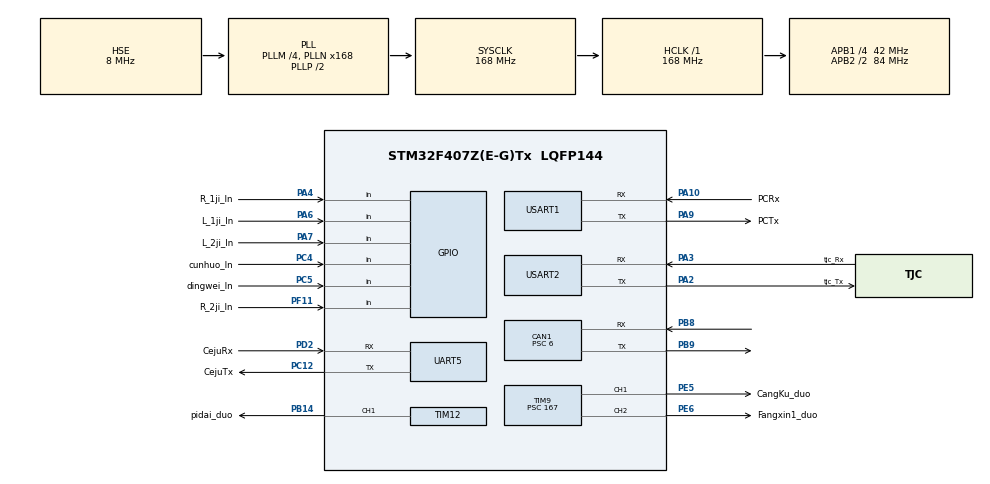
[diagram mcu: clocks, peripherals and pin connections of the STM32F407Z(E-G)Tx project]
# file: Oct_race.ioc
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CAN1.BS1=CAN_BS1_5TQ
CAN1.CalculateBaudRate=1000000
CAN1.CalculateTimeBit=1000
CAN1.CalculateTimeQuantum=142.85714285714286
CAN1.Prescaler=6
Mcu.Family=STM32F4
Mcu.Name=STM32F407Z(E-G)Tx
Mcu.Package=LQFP144
NVIC.CAN1_RX0_IRQn=true\:0\:0\:false\:false\:true\:true\:true\:true
NVIC.CAN1_RX1_IRQn=true\:0\:0\:false\:false\:true\:true\:true\:true
NVIC.CAN1_SCE_IRQn=true\:0\:0\:false\:false\:true\:true\:true\:true
NVIC.CAN1_TX_IRQn=true\:0\:0\:false\:false\:true\:true\:true\:true
NVIC.PriorityGroup=NVIC_PRIORITYGROUP_4
NVIC.TIM5_IRQn=true\:0\:0\:false\:false\:true\:true\:true\:true
NVIC.UART5_IRQn=true\:0\:0\:false\:false\:true\:true\:true\:true
NVIC.USART1_IRQn=true\:0\:0\:false\:false\:true\:true\:true\:true
NVIC.USART2_IRQn=true\:0\:0\:false\:false\:true\:true\:true\:true
PA10.GPIO_Label=PCRx
PA10.Mode=Asynchronous
PA10.Signal=USART1_RX
PA13.Mode=Serial_Wire
PA13.Signal=SYS_JTMS-SWDIO
PA14.Mode=Serial_Wire
PA14.Signal=SYS_JTCK-SWCLK
PA2.GPIO_Label=tjc_Tx
PA2.Mode=Asynchronous
PA2.Signal=USART2_TX
PA3.GPIO_Label=tjc_Rx
PA3.Mode=Asynchronous
PA3.Signal=USART2_RX
PA4.GPIO_Label=R_1ji_In
PA4.GPIO_PuPd=GPIO_PULLUP
PA4.Signal=GPIO_Input
PA6.GPIO_Label=L_1ji_In
PA6.GPIO_PuPd=GPIO_PULLUP
PA6.Signal=GPIO_Input
PA7.GPIO_Label=L_2ji_In
PA7.GPIO_PuPd=GPIO_PULLUP
PA7.Signal=GPIO_Input
PA9.GPIO_Label=PCTx
PA9.Mode=Asynchronous
PA9.Signal=USART1_TX
PB14.GPIO_Label=pidai_duo
PB14.Signal=S_TIM12_CH1
PB8.Mode=CAN_Activate
PB8.Signal=CAN1_RX
PB9.Mode=CAN_Activate
PB9.Signal=CAN1_TX
PC12.GPIO_Label=CejuTx
PC12.Mode=Asynchronous
PC12.Signal=UART5_TX
PC4.GPIO_Label=cunhuo_In
PC4.GPIO_PuPd=GPIO_PULLUP
PC4.Signal=GPIO_Input
PC5.GPIO_Label=dingwei_In
PC5.GPIO_PuPd=GPIO_PULLUP
PC5.Signal=GPIO_Input
PD2.GPIO_Label=CejuRx
PD2.Mode=Asynchronous
PD2.Signal=UART5_RX
PE5.GPIO_Label=CangKu_duo
PE5.Signal=S_TIM9_CH1
PE6.GPIO_Label=Fangxin1_duo
PE6.Signal=S_TIM9_CH2
PF11.GPIO_Label=R_2ji_In
PF11.GPIO_PuPd=GPIO_PULLUP
PF11.Signal=GPIO_Input
PH0-OSC_IN.Mode=HSE-External-Oscillator
PH0-OSC_IN.Signal=RCC_OSC_IN
PH1-OSC_OUT.Mode=HSE-External-Oscillator
PH1-OSC_OUT.Signal=RCC_OSC_OUT
ProjectManager.HeapSize=0x200
ProjectManager.StackSize=0x400
ProjectManager.TargetToolchain=MDK-ARM V5.32
RCC.48MHZClocksFreq_Value=84000000
RCC.AHBFreq_Value=168000000
RCC.APB1CLKDivider=RCC_HCLK_DIV4
RCC.APB1Freq_Value=42000000
RCC.APB1TimFreq_Value=84000000
RCC.APB2CLKDivider=RCC_HCLK_DIV2
RCC.APB2Freq_Value=84000000
RCC.APB2TimFreq_Value=168000000
RCC.CortexFreq_Value=168000000
RCC.HCLKFreq_Value=168000000
RCC.HSE_VALUE=8000000
RCC.HSI_VALUE=16000000
RCC.LSE_VALUE=32768
RCC.PLLM=4
RCC.PLLN=168
RCC.PLLSourceVirtual=RCC_PLLSOURCE_HSE
RCC.SYSCLKFreq_VALUE=168000000
RCC.SYSCLKSource=RCC_SYSCLKSOURCE_PLLCLK
RCC.VCOOutputFreq_Value=336000000
SH.S_TIM12_CH1.0=TIM12_CH1,PWM Generation1 CH1
SH.S_TIM9_CH1.0=TIM9_CH1,PWM Generation1 CH1
SH.S_TIM9_CH2.0=TIM9_CH2,PWM Generation2 CH2
TIM12.Channel-PWM\ Generation1\ CH1=TIM_CHANNEL_1
TIM12.Period=19999
TIM12.Prescaler=83
TIM5.Period=999
TIM5.Prescaler=167
TIM9.Channel-PWM\ Generation1\ CH1=TIM_CHANNEL_1
TIM9.Channel-PWM\ Generation2\ CH2=TIM_CHANNEL_2
TIM9.Period=19999
TIM9.Prescaler=167
UART5.VirtualMode=Asynchronous
USART1.VirtualMode=VM_ASYNC
USART2.VirtualMode=VM_ASYNC
VP_TIM12_VS_ClockSourceINT.Mode=Internal
VP_TIM5_VS_ClockSourceINT.Mode=Internal
VP_TIM9_VS_ClockSourceINT.Mode=Internal
board=custom

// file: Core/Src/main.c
/* USER CODE BEGIN Header */
/**
  ******************************************************************************
  * @file           : main.c
  * @brief          : Main program body
  ******************************************************************************
  * @attention
  *
  * Copyright (c) 2026 STMicroelectronics.
  * All rights reserved.
  *
  * This software is licensed under terms that can be found in the LICENSE file
  * in the root directory of this software component.
  * If no LICENSE file comes with this software, it is provided AS-IS.
  *
  ******************************************************************************
  */
/* USER CODE END Header */
#include "main.h"
#include "can.h"
#include "tim.h"
#include "usart.h"
#include "gpio.h"

/* USER CODE BEGIN Includes */
#include "laser.h"
#include "Motor.h"
#include "stdio.h"
#include "string.h"
#include "Servo.h"
#include "tjc_usart_hmi.h"
#include "In.h"
#include "command.h"
#include "Control.h"
/* USER CODE END Includes */

/* USER CODE BEGIN PV */

int test=0;//测试专用变量
int flag = 0; //标志位

//测距变量
volatile uint8_t rxReady = 0; //测距接收完成标志
uint8_t rxBuffer[8];          //测距接收缓冲区
uint8_t LaserRx[8];           // 测距处理缓冲区
extern Laser_Data_t Laser; //测距结构体

//马达变量
extern Motor_Feedback_t Motor1_Feedback; // 马达反馈
uint8_t TxData[8] = {0};                 // can发送缓冲区
int16_t torque1 = 0;                     // 马达1扭矩值
double Angle = 0;                     // 马达角度值

//串口屏变量
extern RingBuffer_t ringBuffer;	//创建一个ringBuffer的屏幕串口缓冲区
extern uint8_t tjc_RxBuffer[1];//屏幕串口接收命令位

//状态机变量
//extern int tik;//状态机计时
//extern SystemState_t SystemState;

//上位机接收变量
uint8_t readBuffer[10];//上位机接收缓存

extern GoodsSlot GoodsTable[MAX_GOODS_TYPE];

/* USER CODE END PV */

void SystemClock_Config(void);
/* USER CODE BEGIN PFP */

//extern void Laser_Parse(uint8_t *buf);
/* USER CODE END PFP */

/* USER CODE BEGIN 0 */

//串口重定向（别的地方般的，非常之好用）
#ifdef __cplusplus
extern "C" {
#endif
int fputc(int ch, FILE *f)
{
  HAL_UART_Transmit(&huart1, (uint8_t *)&ch, 1, 0xFFFF);
  return (ch);
}
#ifdef __cplusplus
}
#endif

/**
*@brief 16进制打印，用于串口监控内存
*/
 void ShowHex(uint8_t *buf,uint8_t len)
{
    uint8_t i;
    printf("hex = ");
    for( i = 0; i < len; i++){
      printf(" %02X", buf[i]);
    }
    printf( "\r\n");
}

/**
 * @brief  串口接收空闲回调函数
 *
 * @param huart
 * @param Size
 */
void HAL_UARTEx_RxEventCallback(UART_HandleTypeDef *huart, uint16_t Size)
{
	if (huart == &huart1)
  {
    //调试用
    //printf("RX Size:%d\r\n",Size);
    //ShowHex(readBuffer,Size);
		Command_Write(readBuffer, Size);
		HAL_UARTEx_ReceiveToIdle_IT(&huart1, readBuffer, sizeof(readBuffer));
	}
}

/* USER CODE END 0 */

int main(void)
{

  /* MCU Configuration--------------------------------------------------------*/

  /* Reset of all peripherals, Initializes the Flash interface and the Systick. */
  HAL_Init();

  /* Configure the system clock */
  SystemClock_Config();

  /* Initialize all configured peripherals */
  MX_GPIO_Init();
  MX_CAN1_Init();
  MX_USART1_UART_Init();
  MX_UART5_Init();
  MX_TIM9_Init();
  MX_TIM5_Init();
  MX_USART2_UART_Init();
  MX_TIM12_Init();
  /* USER CODE BEGIN 2 */
  HAL_TIM_Base_Start_IT(&htim5);
  fangxin_duo_init();
  dipan_duo_init();
  Motor_Init();
  //printf("Motor Init\r\n");
  HAL_Delay(1000);
  Laser_UART_Start();
  HAL_Delay(20);
  Motor_PID_Init();
  pidai_duo_init();
  Laser_StartContinuous();
  Motor_SetTargetAngle(5000);
  if (HAL_UART_Receive_IT(&huart5, LaserRx, 8) != HAL_OK)
  {
    //good! 表扬你！
  }
  else
  {
    HAL_UART_Receive_IT(&huart5, LaserRx, 8);
  }
  Laser.Distance_cm = 100;
  HAL_UARTEx_ReceiveToIdle_IT(&huart1, readBuffer, sizeof(readBuffer));
  //Set_dipan_duo(270);

  /* USER CODE END 2 */

  /* Infinite loop */
  /* USER CODE BEGIN WHILE */
    while (1)
    {
      System_StateMachine();

      //PB14舵机测试
      // Set_pidai_zhuan(0);
      // HAL_Delay(3999);
      // Set_pidai_zhuan(33);
      // HAL_Delay(2999);
      // Set_pidai_zhuan(50);
      // HAL_Delay(999);
      // Set_pidai_zhuan(66);
      // HAL_Delay(1999);
      //Set_pidai_zhuan(100);
      //HAL_Delay(3999);
      // Set_pidai_zhuan(50);
      // HAL_Delay(999);
      // Set_pidai_zhuan(200);
      // HAL_Delay(1999);
      // Set_pidai_zhuan(100);
      // HAL_Delay(999);

      // 调试的时候用串口监控的数据
      // printf("%.2f\r\n",  Motor1_Feedback.total_angle);//马达角度
      // printf("%.2f\r\n", Laser.Distance_cm);

    /* USER CODE END WHILE */

    }
}

void SystemClock_Config(void)
{
  RCC_OscInitTypeDef RCC_OscInitStruct = {0};
  RCC_ClkInitTypeDef RCC_ClkInitStruct = {0};

  /** Configure the main internal regulator output voltage
  */
  __HAL_RCC_PWR_CLK_ENABLE();
  __HAL_PWR_VOLTAGESCALING_CONFIG(PWR_REGULATOR_VOLTAGE_SCALE1);

  /** Initializes the RCC Oscillators according to the specified parameters
  * in the RCC_OscInitTypeDef structure.
  */
  RCC_OscInitStruct.OscillatorType = RCC_OSCILLATORTYPE_HSE;
  RCC_OscInitStruct.HSEState = RCC_HSE_ON;
  RCC_OscInitStruct.PLL.PLLState = RCC_PLL_ON;
  RCC_OscInitStruct.PLL.PLLSource = RCC_PLLSOURCE_HSE;
  RCC_OscInitStruct.PLL.PLLM = 4;
  RCC_OscInitStruct.PLL.PLLN = 168;
  RCC_OscInitStruct.PLL.PLLP = RCC_PLLP_DIV2;
  RCC_OscInitStruct.PLL.PLLQ = 4;
  if (HAL_RCC_OscConfig(&RCC_OscInitStruct) != HAL_OK)
  {
    Error_Handler();
  }

  /** Initializes the CPU, AHB and APB buses clocks
  */
  RCC_ClkInitStruct.ClockType = RCC_CLOCKTYPE_HCLK|RCC_CLOCKTYPE_SYSCLK
                              |RCC_CLOCKTYPE_PCLK1|RCC_CLOCKTYPE_PCLK2;
  RCC_ClkInitStruct.SYSCLKSource = RCC_SYSCLKSOURCE_PLLCLK;
  RCC_ClkInitStruct.AHBCLKDivider = RCC_SYSCLK_DIV1;
  RCC_ClkInitStruct.APB1CLKDivider = RCC_HCLK_DIV4;
  RCC_ClkInitStruct.APB2CLKDivider = RCC_HCLK_DIV2;

  if (HAL_RCC_ClockConfig(&RCC_ClkInitStruct, FLASH_LATENCY_5) != HAL_OK)
  {
    Error_Handler();
  }
}

/* USER CODE BEGIN 4 */
void HAL_UART_RxCpltCallback(UART_HandleTypeDef *huart)
{
    if (huart == &huart5) //测距串口
    {
        /* 清除所有错误标志（关键） */
        if (huart->ErrorCode != HAL_UART_ERROR_NONE)
        {
            (void)huart->Instance->DR;
            huart->ErrorCode = HAL_UART_ERROR_NONE;
        }
        Laser_Parse(LaserRx); // 解析激光数据
        /* 重新启动接收（务必检查返回值） */
        if (HAL_UART_Receive_IT(&huart5, LaserRx, 8) != HAL_OK) {
            // 若启动失败，尝试重新初始化UART或进入错误处理
            Error_Handler();
        }
    }

    if (huart ==&huart2) // 屏幕串口
    {
      write1ByteToRingBuffer(tjc_RxBuffer[0]);
      HAL_UART_Receive_IT(&TJC_UART, tjc_RxBuffer, 1); // 重新使能串口2接收中断
    }

    return;
}

void HAL_CAN_RxFifo0MsgPendingCallback(CAN_HandleTypeDef *hcan)
{
  CAN_RxHeaderTypeDef RxHeader;
  uint8_t RxData[8];

  if (hcan->Instance == CAN1)
  {
    if (HAL_CAN_GetRxMessage(hcan, CAN_RX_FIFO0, &RxHeader, RxData) == HAL_OK)
    {
      // 电机1反馈
      if (RxHeader.StdId == 0x201)
      {
        uint16_t encoder =(RxData[0] << 8) | RxData[1];
        Motor_UpdateAngle(&Motor1_Feedback, encoder);
        Motor1_Feedback.speed = (RxData[2] << 8) | RxData[3];
        Motor1_Feedback.torque = (RxData[4] << 8) | RxData[5];
        Motor1_Feedback.temp = RxData[6];
      }
    }
  }
}

void HAL_TIM_PeriodElapsedCallback(TIM_HandleTypeDef *htim)
{
  if(htim==&htim5)
    Motor_ControlLoop();
}
/* USER CODE END 4 */

void Error_Handler(void)
{
  __disable_irq();
  while (1)
  {
  }
}
